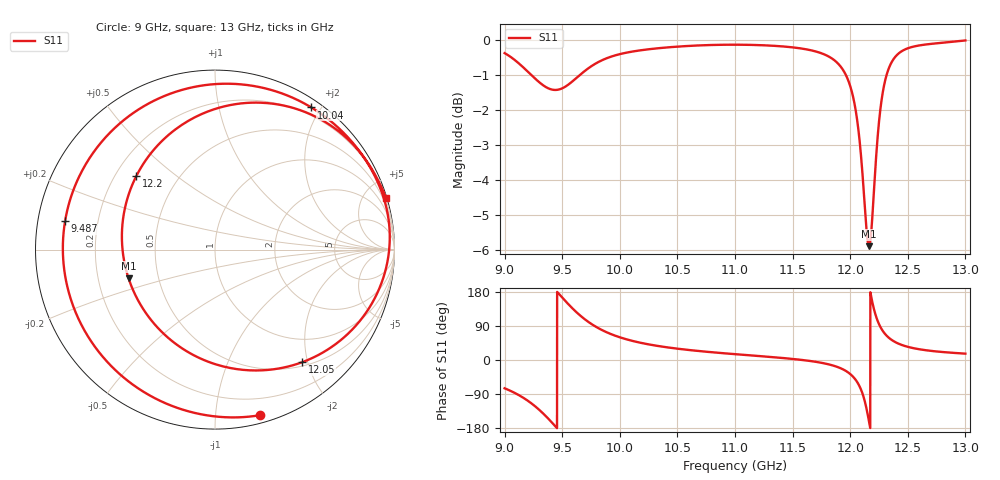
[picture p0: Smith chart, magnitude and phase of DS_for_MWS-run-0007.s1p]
! TOUCHSTONE file generated by CST DESIGN STUDIO
! Date and time: Tue Feb  4 16:20:44 2025
! Project name: C:\Work\MatlabApps\UnitCellOptimizationMatlab\CST\unitcell.cst
! Tree item: Tasks\Sweep1\SPara1\S-Parameters
! Header version: 2024
! Port assignment regex: !\s*Touchstone port\s*([0-9]+)\s*=\s*(CST MWS port|CST DES external port|CST DES block port)\s*(.+)\s* \(\"(.*)\"\)(\s*mode\s*([0-9]+))?.*
! Touchstone port assignment:
! Touchstone port 1 = CST DES external port 1 ("")
# GHz S MA R 50
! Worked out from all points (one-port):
!   4001 points, 9 GHz to 13 GHz, reference 50 ohm
!   lowest |S11| = -5.9 dB at 12.16 GHz (marker M1), VSWR 3.06, Z = 16.7 - j7.23 ohm
!   |S11| at or under -10 dB: nowhere
!   S11 on the Smith chart (normalised r, x): 9 GHz: 0.06, -1.31; 9.487 GHz: 0.08, +0.09; 10.04 GHz: 0.10, +1.88; 12.05 GHz: 0.56, -1.91; 12.2 GHz: 0.29, +0.37; 13 GHz: 0.07, +6.77
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9  0.9563 -74.6
9.146  0.9177 -96.6
9.26  0.8811 -120.9
9.389  0.8506 -157.9
9.487  0.8502 169.3
9.5  0.8519 164.9
9.606  0.8764 131.2
9.706  0.9045 105.2
9.851  0.9351 78.2
10  0.9531 59.9
10.043  0.9567 55.9
10.24  0.9681 41.8
10.5  0.9769 29.9
11  0.9831 15.4
11.5  0.9746 2.8
11.844  0.9391 -14.0
12  0.8584 -37.0
12.047  0.7939 -52.1
12.112  0.6261 -93.4
12.137  0.5479 -122.0
12.163  0.5074 -161.6
12.183  0.5324 166.1
12.204  0.6002 136.9
12.24  0.7323 101.8
12.281  0.8374 77.5
12.369  0.9338 51.2
12.5  0.9716 34.7
13  0.9969 16.8
